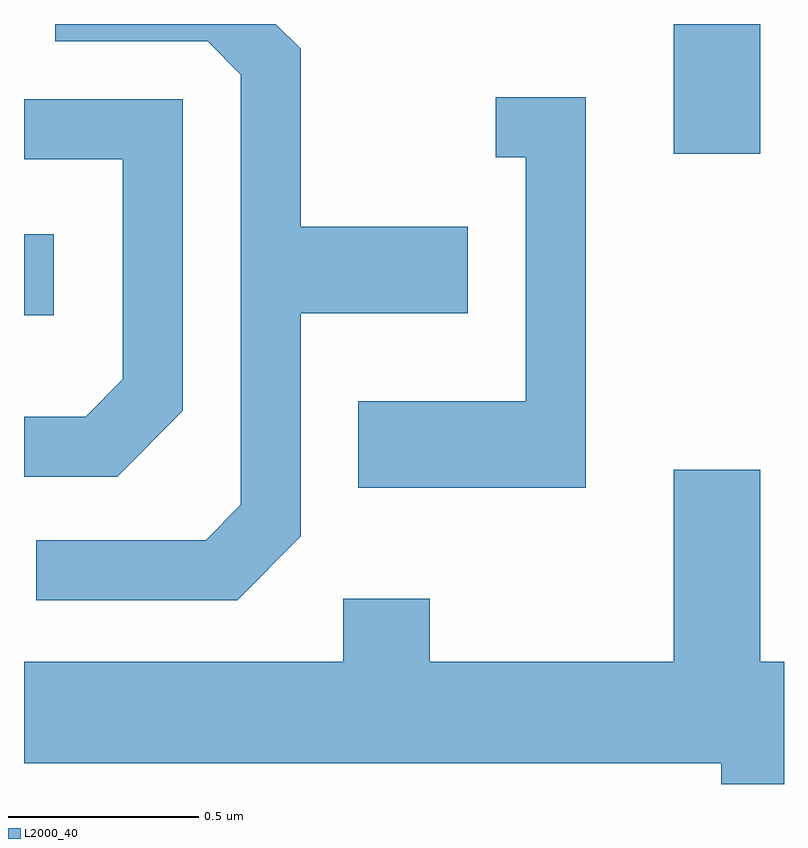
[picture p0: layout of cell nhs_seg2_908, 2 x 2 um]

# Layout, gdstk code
import gdstk
lib = gdstk.Library(unit=1e-6, precision=1e-09)
def R(c, l, rs):  # rectangles x0, y0, x1, y1
    for r in rs: c.add(gdstk.rectangle(r[:2], r[2:], *l))
def P(c, l, *ps):  # polygons
    for p in ps: c.add(gdstk.Polygon(p, *l))
L2000_40 = (2000, 40)

nhs_seg2_908 = lib.new_cell('nhs_seg2_908')
R(nhs_seg2_908, L2000_40, [(191.611,1065.036,191.689,1065.249), (193.321,1065.461,193.549,1065.802)])
P(nhs_seg2_908, L2000_40, [(192.339,1064.454),(192.339,1065.041),(192.779,1065.041),(192.779,1065.269),(192.339,1065.269),(192.339,1065.737),(192.274,1065.802),(191.693,1065.802),(191.693,1065.756),(192.094,1065.756),(192.181,1065.669),(192.181,1064.537),(192.089,1064.444),(191.643,1064.444),(191.643,1064.286),(192.172,1064.286)],
  [(193.089,1065.609),(192.853,1065.609),(192.853,1065.451),(192.931,1065.451),(192.931,1064.809),(192.491,1064.809),(192.491,1064.581),(193.089,1064.581)],
  [(192.029,1064.784),(192.029,1065.604),(191.611,1065.604),(191.611,1065.446),(191.871,1065.446),(191.871,1064.867),(191.774,1064.769),(191.611,1064.769),(191.611,1064.611),(191.857,1064.611)],
  [(193.611,1064.124),(193.549,1064.124),(193.549,1064.629),(193.321,1064.629),(193.321,1064.124),(192.679,1064.124),(192.679,1064.289),(192.451,1064.289),(192.451,1064.124),(191.611,1064.124),(191.611,1063.856),(193.446,1063.856),(193.446,1063.802),(193.611,1063.802)])

lib.write_gds('nhs_seg2_908.gds')
